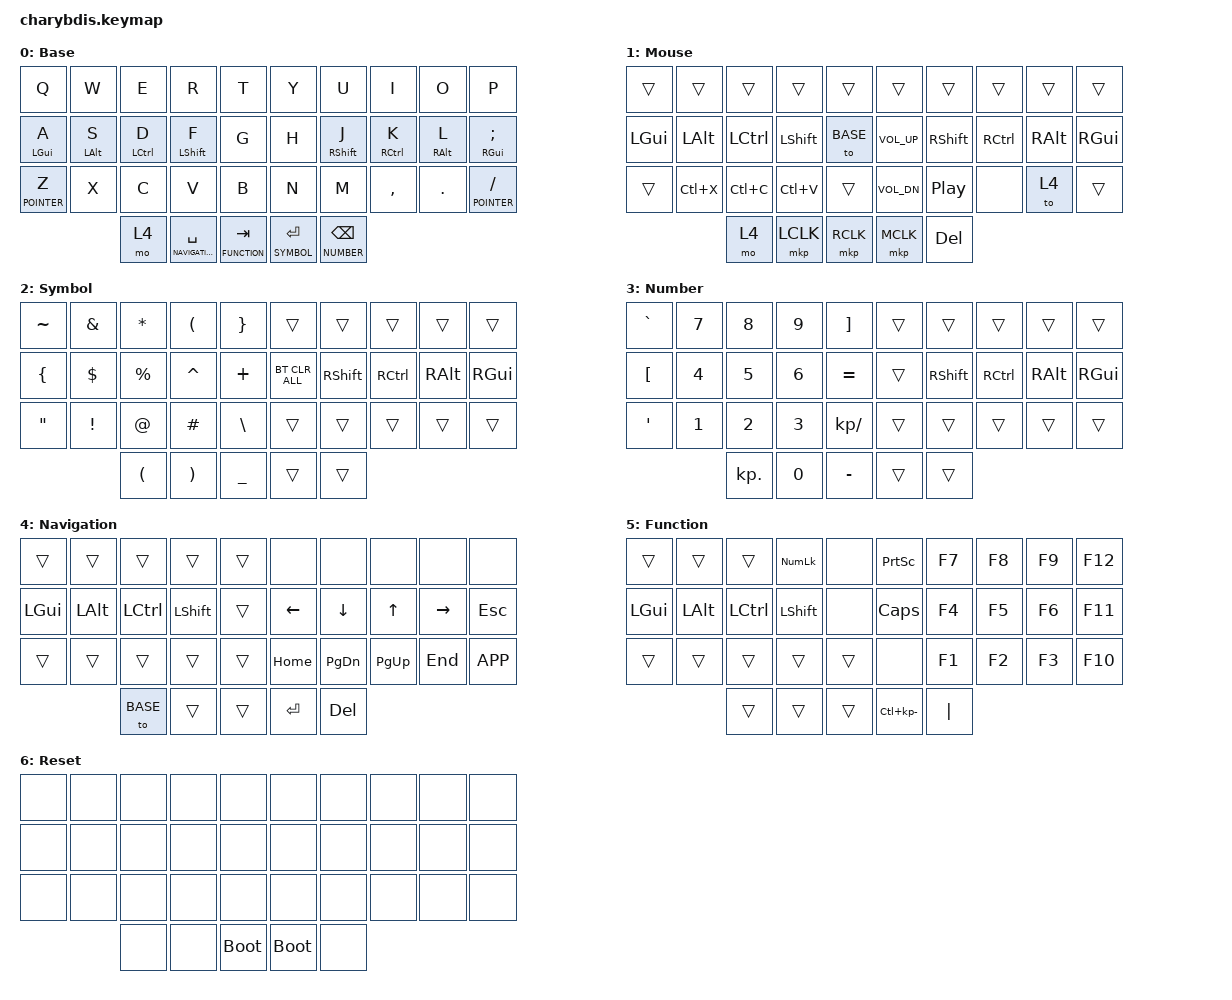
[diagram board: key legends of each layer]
#include <behaviors.dtsi>
#include <dt-bindings/zmk/keys.h>
#include <dt-bindings/zmk/pointing.h>
#include <dt-bindings/zmk/bt.h>   

#define BASE 0
#define POINTER 1
#define SYMBOL 2
#define NUMBER 3
#define NAVIGATION 4
#define FUNCTION 5
#define RESET 6

#define KEYS_L 0 1 2 3 4 10 11 12 13 14 20 21 22 23 24  
#define KEYS_R 5 6 7 8 9 15 16 17 18 19 25 26 27 28 29
#define THUMBS 30 31 32 33 34 35  

&sk {
  release-after-ms = <600>;
  quick-release;
};

&sl {
  ignore-modifiers;
};

&mt {
  flavor = "tap-preferred";
};

&lt {
  flavor = "balanced";
  tapping-term-ms = <200>;
  quick-tap-ms = <175>;
};

&caps_word {
  /delete-property/ ignore-modifiers;
};

/ {
  behaviors {
    hml: hml {
      compatible = "zmk,behavior-hold-tap";
      #binding-cells = <2>;
      flavor = "balanced";
      tapping-term-ms = <2000>;
      quick-tap-ms = <175>;
      require-prior-idle-ms = <250>;
      hold-trigger-key-positions = <KEYS_R THUMBS>;
      hold-trigger-on-release;
      bindings =
        <&kp>,
        <&kp>;
    };

    hmr: hmr {
      compatible = "zmk,behavior-hold-tap";
      #binding-cells = <2>;
      flavor = "balanced";
      tapping-term-ms = <2000>;
      quick-tap-ms = <175>;
      require-prior-idle-ms = <250>;
      hold-trigger-key-positions = <KEYS_L THUMBS>;
      hold-trigger-on-release;
      bindings =
        <&kp>,
        <&kp>;
    };
    hml_s: hml_s {
      compatible = "zmk,behavior-hold-tap";
      #binding-cells = <2>;
      flavor = "balanced";
      tapping-term-ms = <2000>;
      quick-tap-ms = <175>;
      require-prior-idle-ms = <0>;
      hold-trigger-key-positions = <KEYS_R THUMBS>;
      hold-trigger-on-release;
      bindings =
        <&kp>,
        <&kp>;
    };

    hmr_s: hmr_s {
      compatible = "zmk,behavior-hold-tap";
      #binding-cells = <2>;
      flavor = "balanced";
      tapping-term-ms = <2000>;
      quick-tap-ms = <175>;
      require-prior-idle-ms = <0>;
      hold-trigger-key-positions = <KEYS_L THUMBS>;
      hold-trigger-on-release;
      bindings =
        <&kp>,
        <&kp>;
    };


    smart_shift: smart_shift {
      compatible = "zmk,behavior-mod-morph";
      #binding-cells = <0>;
      bindings = <&sk LSHIFT>, <&caps_word>;
      mods = <(MOD_LSFT)>;
    };
  };


#include "combos.dtsi"

  chosen {
    zmk,physical-layout = &charybdis_5col_layout;
  };

  keymap {
    compatible = "zmk,keymap";

    Base {
      display-name = "Base";
      bindings = <
        &kp Q          &kp W        &kp E         &kp R                   &kp T                &kp Y              &kp U         &kp I         &kp O        &kp P  
        &hml LGUI A    &hml LALT S  &hml LCTRL D  &hml LSHFT F            &kp G                &kp H              &hml RSHFT J  &hml RCTRL K  &hml RALT L  &hml RGUI SEMICOLON  
        &lt POINTER Z  &kp X        &kp C         &kp V                   &kp B                &kp N              &kp M         &kp COMMA     &kp DOT      &lt POINTER SLASH
                                    &mo 4         &lt NAVIGATION SPACE    &lt FUNCTION TAB     &lt SYMBOL ENTER   &lt NUMBER BSPC
      >;
    }; 

    Pointer {
      display-name = "Mouse";
      bindings = <
              &trans       &trans       &trans        &trans        &trans               &trans           &trans             &trans        &trans       &trans
              &kp LGUI     &kp LALT     &kp LCTRL     &kp LSHFT     &to BASE             &kp C_VOL_UP     &kp RSHFT          &kp RCTRL     &kp RALT     &kp RGUI
              &trans       &kp LC(X)    &kp LC(C)     &kp LC(V)     &trans               &kp C_VOL_DN     &kp C_PLAY_PAUSE   &none         &to 4        &trans
                                        &mo 4         &mkp LCLK     &mkp RCLK            &mkp MCLK        &kp DELETE
      >;
    };

    Symbol {
      display-name = "Symbol";
      bindings = <
              &kp TILDE      &kp AMPS     &kp STAR      &kp LPAR      &kp RBRC         &trans         &trans        &trans        &trans       &trans
              &kp LBRC       &kp DLLR     &kp PRCNT     &kp CARET     &kp PLUS         &bt BT_CLR_ALL &kp RSHIFT    &kp RCTRL     &kp RALT     &kp RGUI
              &kp DQT        &kp EXCL     &kp AT        &kp HASH      &kp BSLH         &trans         &trans        &trans        &trans       &trans
                                          &kp LPAR      &kp RPAR      &kp UNDER        &trans         &trans                                                                  
      >;
    };

    Number {
      display-name = "Number";
      bindings = <
              &kp GRAVE   &kp N7       &kp N8        &kp N9        &kp RBKT             &trans       &trans        &trans        &trans       &trans  
              &kp LBKT    &kp N4       &kp N5        &kp N6        &kp EQUAL            &trans       &kp RSHFT     &kp RCTRL     &kp RALT     &kp RGUI  
              &kp APOS    &kp N1       &kp N2        &kp N3        &kp KP_DIVIDE        &trans       &trans        &trans        &trans       &trans  
                                       &kp KP_DOT    &kp N0        &kp MINUS            &trans       &trans
      >;
    };

     Navigation { 
      display-name = "Navigation";
      bindings = <
              &trans       &trans       &trans        &trans        &trans               &none            &none         &none          &none        &none
              &kp LGUI     &kp LALT     &kp LCTRL     &kp LSHFT     &trans               &kp LEFT         &kp DOWN      &kp UP         &kp RIGHT    &kp ESC 
              &trans       &trans       &trans        &trans        &trans               &kp HOME         &kp PAGE_DOWN &kp PAGE_UP    &kp END      &kp K_APP
                                        &to BASE      &trans        &trans               &kp ENTER        &kp DELETE 
      >;
    };

    Function {
      display-name = "Function";
      bindings = <
              &trans       &trans       &trans        &kp KP_NUM    &none                &kp PSCRN        &kp F7   &kp F8   &kp F9       &kp F12
              &kp LGUI     &kp LALT     &kp LCTRL     &kp LSHFT     &none                &kp CAPSLOCK     &kp F4   &kp F5   &kp F6       &kp F11
              &trans       &trans       &trans        &trans        &trans               &none            &kp F1   &kp F2   &kp F3       &kp F10
                                        &trans        &trans        &trans               &kp LC(KP_MINUS) &kp PIPE         
      >;
    };

    Reset {
      display-name = "Reset";
      bindings = <
        &none &none &none &none &none                &none &none &none &none &none
        &none &none &none &none &none                &none &none &none &none &none
        &none &none &none &none &none                &none &none &none &none &none
                    &none &none &bootloader          &bootloader &none                
      >;
    };
  };
};









